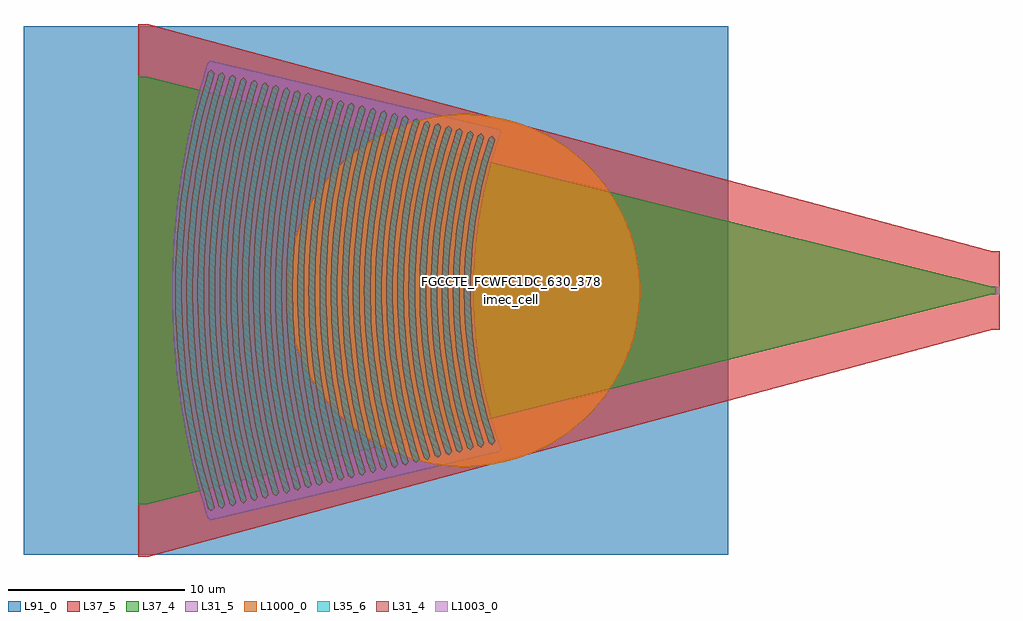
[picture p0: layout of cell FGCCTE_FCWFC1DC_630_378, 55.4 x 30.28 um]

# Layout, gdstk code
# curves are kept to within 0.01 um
import gdstk
lib = gdstk.Library(unit=1e-6, precision=1e-09)
def R(c, l, rs):  # rectangles x0, y0, x1, y1
    for r in rs: c.add(gdstk.rectangle(r[:2], r[2:], *l))
def P(c, l, *ps):  # polygons
    for p in ps: c.add(gdstk.Polygon(p, *l))
L31_4 = (31, 4)
L31_5 = (31, 5)
L35_6 = (35, 6)
L37_4 = (37, 4)
L37_5 = (37, 5)
L91_0 = (91, 0)
L1000_0 = (1000, 0)
L1003_0 = (1003, 0)

fgccte_fcwfc1dc_630_378 = lib.new_cell('FGCCTE_FCWFC1DC_630_378')
P(fgccte_fcwfc1dc_630_378, L31_4, [(1.595,-8.78),(1.41,-8.65),(1.125,-7.745),(0.99,-7.285),(0.755,-6.365),(0.455,-4.97),(0.3,-4.03),(0.125,-2.615),(0.05,-1.665),(0,-0.24),(0.025,1.19),(0.125,2.615),(0.3,4.03),(0.455,4.97),(0.755,6.365),(0.99,7.285),(1.125,7.745),(1.41,8.65),(1.595,8.78),(1.78,8.565),(1.495,7.665),(1.125,6.3),(0.83,4.92),(0.675,3.99),(0.55,3.055),(0.46,2.12),(0.385,0.705),(0.38,0.235),(0.385,-0.705),(0.43,-1.65),(0.5,-2.585),(0.61,-3.525),(0.83,-4.92),(1.125,-6.3),(1.495,-7.665),(1.78,-8.565)],
  [(0.98,-8.925),(0.795,-8.795),(0.505,-7.875),(0.13,-6.47),(-0.17,-5.05),(-0.33,-4.095),(-0.505,-2.655),(-0.605,-1.21),(-0.63,-0.24),(-0.605,1.21),(-0.505,2.655),(-0.33,4.095),(-0.17,5.05),(0.13,6.47),(0.505,7.875),(0.795,8.795),(0.98,8.925),(1.165,8.71),(1.015,8.255),(0.745,7.335),(0.395,5.94),(0.205,5),(-0.02,3.58),(-0.17,2.155),(-0.245,0.72),(-0.25,0.24),(-0.245,-0.72),(-0.2,-1.675),(-0.17,-2.155),(-0.02,-3.58),(0.205,-5),(0.395,-5.94),(0.745,-7.335),(1.015,-8.255),(1.165,-8.71)],
  [(0.37,-9.07),(0.185,-8.94),(-0.11,-8.005),(-0.49,-6.575),(-0.795,-5.135),(-0.955,-4.165),(-1.135,-2.7),(-1.235,-1.23),(-1.26,-0.245),(-1.235,1.23),(-1.175,2.21),(-1.08,3.19),(-0.88,4.65),(-0.6,6.1),(-0.245,7.53),(0.185,8.94),(0.37,9.07),(0.55,8.855),(0.125,7.455),(-0.115,6.515),(-0.42,5.085),(-0.58,4.125),(-0.705,3.16),(-0.8,2.19),(-0.875,0.73),(-0.88,0.245),(-0.875,-0.73),(-0.8,-2.19),(-0.705,-3.16),(-0.58,-4.125),(-0.42,-5.085),(-0.115,-6.515),(0.125,-7.455),(0.55,-8.855)],
  [(-0.245,-9.215),(-0.43,-9.085),(-0.725,-8.13),(-1.11,-6.685),(-1.42,-5.215),(-1.65,-3.735),(-1.76,-2.745),(-1.84,-1.745),(-1.89,-0.25),(-1.865,1.25),(-1.805,2.245),(-1.65,3.735),(-1.42,5.215),(-1.11,6.685),(-0.725,8.13),(-0.43,9.085),(-0.245,9.215),(-0.06,9),(-0.215,8.53),(-0.49,7.58),(-0.735,6.62),(-1.045,5.165),(-1.275,3.7),(-1.385,2.715),(-1.46,1.73),(-1.515,0.245),(-1.505,-0.74),(-1.46,-1.73),(-1.385,-2.715),(-1.275,-3.7),(-1.045,-5.165),(-0.735,-6.62),(-0.49,-7.58),(-0.215,-8.53),(-0.06,-9)],
  [(-0.86,-9.36),(-1.04,-9.23),(-1.34,-8.26),(-1.48,-7.775),(-1.73,-6.79),(-1.845,-6.295),(-2.04,-5.3),(-2.205,-4.3),(-2.34,-3.29),(-2.39,-2.785),(-2.47,-1.775),(-2.52,-0.255),(-2.495,1.27),(-2.435,2.28),(-2.34,3.29),(-2.13,4.8),(-1.845,6.295),(-1.48,7.775),(-1.04,9.23),(-0.86,9.36),(-0.675,9.145),(-0.975,8.185),(-1.36,6.725),(-1.67,5.25),(-1.83,4.26),(-1.96,3.26),(-2.055,2.26),(-2.115,1.255),(-2.145,0.25),(-2.135,-0.755),(-2.09,-1.76),(-2.015,-2.76),(-1.9,-3.76),(-1.67,-5.25),(-1.36,-6.725),(-0.975,-8.185),(-0.675,-9.145)],
  [(-1.47,-9.5),(-1.655,-9.375),(-1.96,-8.39),(-2.1,-7.895),(-2.35,-6.895),(-2.465,-6.395),(-2.665,-5.38),(-2.835,-4.365),(-3.02,-2.83),(-3.1,-1.805),(-3.15,-0.26),(-3.125,1.29),(-3.065,2.315),(-2.905,3.855),(-2.755,4.875),(-2.465,6.395),(-2.1,7.895),(-1.655,9.375),(-1.47,9.5),(-1.285,9.29),(-1.59,8.315),(-1.98,6.83),(-2.195,5.835),(-2.46,4.325),(-2.59,3.31),(-2.685,2.295),(-2.745,1.275),(-2.775,0.255),(-2.765,-0.765),(-2.72,-1.785),(-2.64,-2.805),(-2.53,-3.82),(-2.38,-4.83),(-2.29,-5.33),(-1.98,-6.83),(-1.59,-8.315),(-1.285,-9.29)],
  [(-2.085,-9.645),(-2.265,-9.52),(-2.575,-8.52),(-2.975,-7),(-3.195,-5.98),(-3.29,-5.465),(-3.46,-4.43),(-3.65,-2.875),(-3.73,-1.83),(-3.775,-0.785),(-3.78,-0.26),(-3.775,0.785),(-3.755,1.31),(-3.65,2.875),(-3.53,3.915),(-3.38,4.95),(-3.09,6.49),(-2.85,7.51),(-2.715,8.015),(-2.575,8.52),(-2.265,9.52),(-2.085,9.645),(-1.9,9.435),(-2.205,8.445),(-2.6,6.94),(-2.82,5.925),(-3.085,4.39),(-3.215,3.365),(-3.315,2.33),(-3.375,1.295),(-3.405,0.26),(-3.395,-0.78),(-3.35,-1.815),(-3.27,-2.845),(-3.155,-3.88),(-3.005,-4.905),(-2.915,-5.415),(-2.82,-5.925),(-2.6,-6.94),(-2.205,-8.445),(-1.9,-9.435)],
  [(-2.695,-9.79),(-2.88,-9.665),(-3.2,-8.62),(-3.485,-7.565),(-3.61,-7.035),(-3.73,-6.505),(-3.935,-5.43),(-4.11,-4.355),(-4.295,-2.725),(-4.395,-1.09),(-4.415,0),(-4.395,1.09),(-4.295,2.725),(-4.11,4.355),(-3.935,5.43),(-3.73,6.505),(-3.61,7.035),(-3.485,7.565),(-3.2,8.62),(-2.88,9.665),(-2.695,9.79),(-2.51,9.58),(-2.83,8.545),(-2.975,8.02),(-3.355,6.445),(-3.465,5.915),(-3.65,4.85),(-3.805,3.775),(-3.96,2.16),(-4.015,1.08),(-4.035,0),(-4.015,-1.08),(-3.96,-2.16),(-3.805,-3.775),(-3.65,-4.85),(-3.465,-5.915),(-3.355,-6.445),(-2.975,-8.02),(-2.83,-8.545),(-2.51,-9.58)],
  [(-3.31,-9.935),(-3.495,-9.81),(-3.815,-8.75),(-3.965,-8.215),(-4.23,-7.14),(-4.35,-6.6),(-4.56,-5.51),(-4.735,-4.415),(-4.925,-2.765),(-5.025,-1.11),(-5.045,0),(-5.025,1.11),(-4.925,2.765),(-4.735,4.415),(-4.56,5.51),(-4.35,6.6),(-4.23,7.14),(-3.965,8.215),(-3.815,8.75),(-3.495,9.81),(-3.31,9.935),(-3.125,9.725),(-3.595,8.145),(-3.86,7.075),(-4.085,6.005),(-4.28,4.92),(-4.36,4.38),(-4.495,3.29),(-4.59,2.195),(-4.645,1.1),(-4.665,0),(-4.645,-1.1),(-4.59,-2.195),(-4.495,-3.29),(-4.36,-4.38),(-4.28,-4.92),(-4.085,-6.005),(-3.86,-7.075),(-3.595,-8.145),(-3.125,-9.725)],
  [(-3.92,-10.08),(-4.105,-9.955),(-4.43,-8.88),(-4.85,-7.245),(-4.975,-6.695),(-5.185,-5.59),(-5.28,-5.04),(-5.435,-3.925),(-5.55,-2.805),(-5.655,-1.125),(-5.675,0),(-5.655,1.125),(-5.55,2.805),(-5.435,3.925),(-5.28,5.04),(-5.185,5.59),(-4.975,6.695),(-4.85,7.245),(-4.43,8.88),(-4.105,9.955),(-3.92,10.08),(-3.74,9.865),(-4.065,8.8),(-4.48,7.18),(-4.71,6.09),(-4.905,4.995),(-4.985,4.445),(-5.12,3.335),(-5.22,2.225),(-5.275,1.115),(-5.295,0),(-5.275,-1.115),(-5.22,-2.225),(-5.12,-3.335),(-4.985,-4.445),(-4.905,-4.995),(-4.71,-6.09),(-4.48,-7.18),(-4.065,-8.8),(-3.74,-9.865)],
  [(-4.535,-10.225),(-4.72,-10.1),(-5.05,-9.005),(-5.475,-7.35),(-5.71,-6.235),(-5.81,-5.675),(-5.99,-4.545),(-6.18,-2.845),(-6.26,-1.71),(-6.305,0),(-6.26,1.71),(-6.18,2.845),(-5.99,4.545),(-5.81,5.675),(-5.71,6.235),(-5.475,7.35),(-5.05,9.005),(-4.72,10.1),(-4.535,10.225),(-4.35,10.01),(-4.68,8.93),(-4.83,8.385),(-5.1,7.285),(-5.335,6.18),(-5.53,5.065),(-5.61,4.51),(-5.75,3.385),(-5.845,2.26),(-5.905,1.13),(-5.925,0),(-5.905,-1.13),(-5.845,-2.26),(-5.75,-3.385),(-5.61,-4.51),(-5.53,-5.065),(-5.335,-6.18),(-5.1,-7.285),(-4.83,-8.385),(-4.68,-8.93),(-4.35,-10.01)],
  [(-5.145,-10.37),(-5.33,-10.245),(-5.665,-9.135),(-5.82,-8.58),(-6.095,-7.455),(-6.22,-6.89),(-6.435,-5.755),(-6.53,-5.185),(-6.69,-4.04),(-6.81,-2.89),(-6.89,-1.735),(-6.93,-0.58),(-6.935,0),(-6.93,0.58),(-6.89,1.735),(-6.81,2.89),(-6.69,4.04),(-6.53,5.185),(-6.435,5.755),(-6.22,6.89),(-6.095,7.455),(-5.82,8.58),(-5.665,9.135),(-5.33,10.245),(-5.145,10.37),(-4.965,10.155),(-5.295,9.06),(-5.59,7.95),(-5.72,7.39),(-5.96,6.27),(-6.24,4.575),(-6.38,3.435),(-6.475,2.29),(-6.535,1.145),(-6.555,0),(-6.535,-1.145),(-6.475,-2.29),(-6.38,-3.435),(-6.24,-4.575),(-5.96,-6.27),(-5.72,-7.39),(-5.59,-7.95),(-5.295,-9.06),(-4.965,-10.155)],
  [(-5.76,-10.515),(-5.945,-10.39),(-6.28,-9.265),(-6.435,-8.7),(-6.715,-7.56),(-7.06,-5.835),(-7.24,-4.675),(-7.385,-3.51),(-7.44,-2.93),(-7.52,-1.76),(-7.565,0),(-7.52,1.76),(-7.44,2.93),(-7.385,3.51),(-7.24,4.675),(-7.06,5.835),(-6.715,7.56),(-6.435,8.7),(-6.28,9.265),(-5.945,10.39),(-5.76,10.515),(-5.575,10.3),(-5.75,9.745),(-6.065,8.625),(-6.345,7.495),(-6.685,5.785),(-6.865,4.635),(-7.005,3.485),(-7.105,2.325),(-7.165,1.165),(-7.185,0),(-7.165,-1.165),(-7.105,-2.325),(-7.005,-3.485),(-6.865,-4.635),(-6.685,-5.785),(-6.345,-7.495),(-6.065,-8.625),(-5.75,-9.745),(-5.575,-10.3)],
  [(-6.37,-10.66),(-6.555,-10.53),(-6.9,-9.395),(-7.2,-8.245),(-7.335,-7.665),(-7.465,-7.085),(-7.685,-5.915),(-7.87,-4.74),(-8.065,-2.97),(-8.15,-1.785),(-8.195,0),(-8.15,1.785),(-8.065,2.97),(-7.87,4.74),(-7.685,5.915),(-7.465,7.085),(-7.335,7.665),(-7.2,8.245),(-6.9,9.395),(-6.555,10.53),(-6.37,10.66),(-6.19,10.445),(-6.53,9.315),(-6.83,8.175),(-6.965,7.6),(-7.205,6.445),(-7.495,4.7),(-7.635,3.53),(-7.735,2.355),(-7.795,1.18),(-7.815,0),(-7.795,-1.18),(-7.735,-2.355),(-7.635,-3.53),(-7.495,-4.7),(-7.205,-6.445),(-6.965,-7.6),(-6.83,-8.175),(-6.53,-9.315),(-6.19,-10.445)],
  [(-6.985,-10.805),(-7.17,-10.675),(-7.515,-9.52),(-7.96,-7.77),(-8.205,-6.59),(-8.31,-5.995),(-8.41,-5.4),(-8.575,-4.21),(-8.695,-3.01),(-8.78,-1.805),(-8.805,-1.205),(-8.825,0),(-8.805,1.205),(-8.78,1.805),(-8.695,3.01),(-8.575,4.21),(-8.41,5.4),(-8.31,5.995),(-8.205,6.59),(-7.96,7.77),(-7.515,9.52),(-7.17,10.675),(-6.985,10.805),(-6.8,10.59),(-7.145,9.445),(-7.45,8.29),(-7.585,7.705),(-7.83,6.535),(-8.035,5.36),(-8.12,4.765),(-8.265,3.58),(-8.365,2.39),(-8.425,1.195),(-8.445,0),(-8.425,-1.195),(-8.365,-2.39),(-8.265,-3.58),(-8.12,-4.765),(-8.035,-5.36),(-7.83,-6.535),(-7.585,-7.705),(-7.45,-8.29),(-7.145,-9.445),(-6.8,-10.59)],
  [(-7.595,-10.945),(-7.78,-10.82),(-8.13,-9.65),(-8.44,-8.47),(-8.58,-7.875),(-8.71,-7.275),(-8.935,-6.075),(-9.035,-5.475),(-9.2,-4.265),(-9.325,-3.05),(-9.41,-1.83),(-9.455,0),(-9.41,1.83),(-9.325,3.05),(-9.2,4.265),(-9.035,5.475),(-8.935,6.075),(-8.71,7.275),(-8.58,7.875),(-8.44,8.47),(-8.13,9.65),(-7.78,10.82),(-7.595,10.945),(-7.415,10.735),(-7.92,8.99),(-8.205,7.81),(-8.455,6.625),(-8.66,5.43),(-8.745,4.83),(-8.89,3.63),(-8.995,2.42),(-9.055,1.21),(-9.075,0),(-9.055,-1.21),(-8.995,-2.42),(-8.89,-3.63),(-8.745,-4.83),(-8.66,-5.43),(-8.455,-6.625),(-8.205,-7.81),(-7.92,-8.99),(-7.415,-10.735)],
  [(-8.21,-11.09),(-8.395,-10.965),(-8.755,-9.745),(-8.92,-9.13),(-9.22,-7.89),(-9.475,-6.645),(-9.585,-6.02),(-9.775,-4.76),(-9.975,-2.86),(-10.05,-1.59),(-10.085,-0.32),(-10.075,0.955),(-9.975,2.86),(-9.775,4.76),(-9.585,6.02),(-9.475,6.645),(-9.22,7.89),(-8.92,9.13),(-8.755,9.745),(-8.395,10.965),(-8.21,11.09),(-8.025,10.88),(-8.385,9.67),(-8.705,8.445),(-8.98,7.21),(-9.1,6.595),(-9.31,5.345),(-9.475,4.095),(-9.595,2.84),(-9.675,1.58),(-9.705,0.315),(-9.695,-0.945),(-9.64,-2.21),(-9.54,-3.465),(-9.395,-4.72),(-9.31,-5.345),(-9.1,-6.595),(-8.845,-7.83),(-8.55,-9.06),(-8.385,-9.67),(-8.025,-10.88)],
  [(-8.825,-11.235),(-9.005,-11.11),(-9.195,-10.495),(-9.54,-9.25),(-9.695,-8.625),(-9.975,-7.365),(-10.21,-6.095),(-10.4,-4.82),(-10.545,-3.54),(-10.6,-2.9),(-10.68,-1.61),(-10.715,-0.32),(-10.705,0.965),(-10.6,2.9),(-10.48,4.18),(-10.31,5.46),(-10.21,6.095),(-9.975,7.365),(-9.695,8.625),(-9.54,9.25),(-9.195,10.495),(-9.005,11.11),(-8.825,11.235),(-8.64,11.025),(-9.005,9.795),(-9.17,9.18),(-9.465,7.935),(-9.725,6.68),(-9.935,5.42),(-10.025,4.785),(-10.17,3.515),(-10.27,2.24),(-10.305,1.6),(-10.335,0.32),(-10.325,-0.96),(-10.27,-2.24),(-10.17,-3.515),(-10.025,-4.785),(-9.935,-5.42),(-9.725,-6.68),(-9.465,-7.935),(-9.17,-9.18),(-9.005,-9.795),(-8.64,-11.025)],
  [(-9.435,-11.38),(-9.62,-11.255),(-9.99,-10),(-10.315,-8.735),(-10.46,-8.1),(-10.72,-6.82),(-10.835,-6.175),(-11.025,-4.885),(-11.175,-3.585),(-11.275,-2.285),(-11.31,-1.63),(-11.345,-0.325),(-11.335,0.98),(-11.275,2.285),(-11.23,2.935),(-11.105,4.235),(-11.025,4.885),(-10.835,6.175),(-10.72,6.82),(-10.46,8.1),(-10.315,8.735),(-9.99,10),(-9.62,11.255),(-9.435,11.38),(-9.25,11.165),(-9.62,9.925),(-9.945,8.67),(-10.09,8.035),(-10.225,7.405),(-10.46,6.13),(-10.65,4.845),(-10.73,4.205),(-10.855,2.915),(-10.93,1.62),(-10.965,0.325),(-10.955,-0.97),(-10.9,-2.265),(-10.795,-3.56),(-10.65,-4.845),(-10.46,-6.13),(-10.225,-7.405),(-10.09,-8.035),(-9.945,-8.67),(-9.62,-9.925),(-9.25,-11.165)],
  [(-10.05,-11.525),(-10.23,-11.4),(-10.605,-10.13),(-10.775,-9.49),(-11.085,-8.205),(-11.46,-6.255),(-11.655,-4.945),(-11.805,-3.63),(-11.86,-2.975),(-11.94,-1.655),(-11.975,-0.33),(-11.965,0.99),(-11.94,1.655),(-11.86,2.975),(-11.735,4.29),(-11.655,4.945),(-11.46,6.255),(-11.085,8.205),(-10.775,9.49),(-10.605,10.13),(-10.23,11.4),(-10.05,11.525),(-9.865,11.31),(-10.055,10.685),(-10.405,9.42),(-10.71,8.14),(-10.845,7.5),(-11.085,6.205),(-11.275,4.91),(-11.425,3.605),(-11.485,2.95),(-11.56,1.64),(-11.595,0.33),(-11.585,-0.985),(-11.53,-2.295),(-11.425,-3.605),(-11.275,-4.91),(-11.085,-6.205),(-10.97,-6.855),(-10.71,-8.14),(-10.405,-9.42),(-10.055,-10.685),(-9.865,-11.31)],
  [(-10.66,-11.67),(-10.845,-11.54),(-11.04,-10.9),(-11.395,-9.61),(-11.705,-8.305),(-11.97,-6.995),(-12.085,-6.335),(-12.28,-5.01),(-12.43,-3.68),(-12.49,-3.01),(-12.57,-1.675),(-12.605,-0.335),(-12.595,1.005),(-12.57,1.675),(-12.49,3.01),(-12.43,3.68),(-12.28,5.01),(-12.085,6.335),(-11.97,6.995),(-11.705,8.305),(-11.395,9.61),(-11.04,10.9),(-10.845,11.54),(-10.66,11.67),(-10.475,11.455),(-10.67,10.82),(-11.025,9.54),(-11.33,8.245),(-11.595,6.94),(-11.815,5.63),(-11.985,4.31),(-12.11,2.99),(-12.19,1.66),(-12.225,0.33),(-12.215,-0.995),(-12.16,-2.325),(-12.055,-3.65),(-11.905,-4.97),(-11.71,-6.285),(-11.47,-7.595),(-11.33,-8.245),(-11.025,-9.54),(-10.67,-10.82),(-10.475,-11.455)],
  [(-11.275,-11.815),(-11.455,-11.685),(-11.84,-10.385),(-12.175,-9.07),(-12.325,-8.41),(-12.595,-7.08),(-12.71,-6.41),(-12.91,-5.07),(-12.99,-4.4),(-13.12,-3.05),(-13.2,-1.695),(-13.235,-0.34),(-13.225,1.015),(-13.2,1.695),(-13.12,3.05),(-12.99,4.4),(-12.91,5.07),(-12.71,6.41),(-12.595,7.08),(-12.325,8.41),(-12.175,9.07),(-11.84,10.385),(-11.455,11.685),(-11.275,11.815),(-11.09,11.6),(-11.47,10.31),(-11.8,9.005),(-11.95,8.35),(-12.22,7.03),(-12.44,5.7),(-12.615,4.365),(-12.74,3.025),(-12.82,1.68),(-12.855,0.335),(-12.845,-1.01),(-12.785,-2.355),(-12.685,-3.695),(-12.53,-5.035),(-12.44,-5.7),(-12.22,-7.03),(-11.95,-8.35),(-11.8,-9.005),(-11.47,-10.31),(-11.09,-11.6)],
  [(-11.885,-11.955),(-12.07,-11.83),(-12.455,-10.515),(-12.795,-9.185),(-12.945,-8.515),(-13.335,-6.49),(-13.535,-5.135),(-13.69,-3.77),(-13.795,-2.4),(-13.855,-1.03),(-13.865,-0.345),(-13.855,1.03),(-13.795,2.4),(-13.745,3.085),(-13.69,3.77),(-13.535,5.135),(-13.335,6.49),(-12.945,8.515),(-12.795,9.185),(-12.455,10.515),(-12.07,11.83),(-11.885,11.955),(-11.7,11.745),(-12.085,10.435),(-12.26,9.775),(-12.575,8.45),(-12.715,7.785),(-12.96,6.445),(-13.16,5.095),(-13.24,4.42),(-13.37,3.065),(-13.45,1.705),(-13.485,0.34),(-13.475,-1.02),(-13.415,-2.385),(-13.31,-3.74),(-13.16,-5.095),(-12.96,-6.445),(-12.715,-7.785),(-12.575,-8.45),(-12.26,-9.775),(-12.085,-10.435),(-11.7,-11.745)],
  [(-12.495,-12.1),(-12.68,-11.975),(-12.88,-11.31),(-13.25,-9.97),(-13.415,-9.295),(-13.71,-7.935),(-13.96,-6.57),(-14.065,-5.885),(-14.245,-4.505),(-14.375,-3.125),(-14.46,-1.735),(-14.495,-0.345),(-14.485,1.04),(-14.425,2.43),(-14.375,3.125),(-14.245,4.505),(-14.065,5.885),(-13.96,6.57),(-13.71,7.935),(-13.415,9.295),(-13.25,9.97),(-12.88,11.31),(-12.68,11.975),(-12.495,12.1),(-12.315,11.89),(-12.7,10.565),(-13.195,8.555),(-13.335,7.88),(-13.585,6.525),(-13.785,5.16),(-13.87,4.475),(-14,3.1),(-14.08,1.725),(-14.12,0.345),(-14.105,-1.035),(-14.045,-2.41),(-13.94,-3.785),(-13.785,-5.16),(-13.585,-6.525),(-13.335,-7.88),(-13.195,-8.555),(-12.7,-10.565),(-12.315,-11.89)],
  [(-13.11,-12.245),(-13.295,-12.12),(-13.685,-10.77),(-13.865,-10.09),(-14.19,-8.72),(-14.465,-7.34),(-14.585,-6.65),(-14.79,-5.26),(-14.945,-3.86),(-15.055,-2.46),(-15.115,-1.055),(-15.125,-0.35),(-15.115,1.055),(-15.055,2.46),(-15.005,3.16),(-14.875,4.56),(-14.79,5.26),(-14.585,6.65),(-14.465,7.34),(-14.19,8.72),(-13.865,10.09),(-13.685,10.77),(-13.295,12.12),(-13.11,12.245),(-12.925,12.035),(-13.125,11.365),(-13.495,10.015),(-13.815,8.66),(-14.09,7.29),(-14.315,5.91),(-14.495,4.525),(-14.63,3.14),(-14.71,1.745),(-14.75,0.35),(-14.735,-1.045),(-14.675,-2.44),(-14.57,-3.835),(-14.41,-5.22),(-14.21,-6.6),(-13.96,-7.975),(-13.815,-8.66),(-13.495,-10.015),(-13.125,-11.365),(-12.925,-12.035)],
  [(-13.72,-12.39),(-13.905,-12.265),(-14.305,-10.895),(-14.485,-10.21),(-14.81,-8.825),(-15.09,-7.43),(-15.21,-6.73),(-15.415,-5.32),(-15.575,-3.905),(-15.685,-2.49),(-15.745,-1.065),(-15.755,-0.355),(-15.745,1.065),(-15.685,2.49),(-15.635,3.2),(-15.5,4.615),(-15.32,6.025),(-15.21,6.73),(-15.09,7.43),(-14.81,8.825),(-14.485,10.21),(-14.305,10.895),(-13.905,12.265),(-13.72,12.39),(-13.54,12.175),(-13.935,10.82),(-14.28,9.45),(-14.58,8.07),(-14.715,7.375),(-14.945,5.98),(-15.125,4.58),(-15.255,3.175),(-15.34,1.765),(-15.38,0.355),(-15.365,-1.06),(-15.305,-2.47),(-15.195,-3.88),(-15.04,-5.285),(-14.945,-5.98),(-14.715,-7.375),(-14.435,-8.76),(-14.115,-10.135),(-13.935,-10.82),(-13.54,-12.175)],
  [(-14.335,-12.535),(-14.52,-12.405),(-14.92,-11.025),(-15.1,-10.33),(-15.43,-8.925),(-15.575,-8.225),(-15.835,-6.805),(-16.045,-5.38),(-16.13,-4.67),(-16.265,-3.235),(-16.35,-1.8),(-16.385,-0.36),(-16.375,1.08),(-16.315,2.515),(-16.265,3.235),(-16.13,4.67),(-16.045,5.38),(-15.835,6.805),(-15.575,8.225),(-15.43,8.925),(-15.27,9.63),(-14.92,11.025),(-14.52,12.405),(-14.335,12.535),(-14.15,12.32),(-14.55,10.95),(-15.06,8.865),(-15.34,7.465),(-15.57,6.055),(-15.75,4.635),(-15.885,3.215),(-15.97,1.785),(-16.01,0.355),(-15.995,-1.07),(-15.935,-2.5),(-15.825,-3.925),(-15.665,-5.345),(-15.57,-6.055),(-15.34,-7.465),(-15.06,-8.865),(-14.55,-10.95),(-14.15,-12.32)])
P(fgccte_fcwfc1dc_630_378, L31_5, [(-14.375,-13.03),(-14.53,-12.94),(-14.78,-12.125),(-15.13,-10.895),(-15.355,-10.015),(-15.64,-8.77),(-15.915,-7.34),(-16.17,-5.72),(-16.395,-3.73),(-16.505,-2.095),(-16.555,-0.64),(-16.555,0.64),(-16.53,1.545),(-16.465,2.82),(-16.395,3.73),(-16.26,5),(-16.065,6.44),(-15.785,8.055),(-15.64,8.77),(-15.355,10.015),(-14.985,11.425),(-14.53,12.94),(-14.375,13.03),(2.02,9.155),(2.105,8.995),(1.765,7.97),(1.425,6.795),(1.105,5.43),(0.9,4.335),(0.765,3.405),(0.68,2.655),(0.575,1.26),(0.55,0.325),(0.555,-0.61),(0.605,-1.725),(0.71,-2.945),(0.855,-4.05),(1.105,-5.43),(1.38,-6.62),(1.68,-7.695),(2.105,-8.995),(2.02,-9.155)])
P(fgccte_fcwfc1dc_630_378, L35_6, [(1.595,-8.78),(1.41,-8.65),(1.125,-7.745),(0.99,-7.285),(0.755,-6.365),(0.455,-4.97),(0.3,-4.03),(0.125,-2.615),(0.05,-1.665),(0,-0.24),(0.025,1.19),(0.125,2.615),(0.3,4.03),(0.455,4.97),(0.755,6.365),(0.99,7.285),(1.125,7.745),(1.41,8.65),(1.595,8.78),(1.78,8.565),(1.495,7.665),(1.125,6.3),(0.83,4.92),(0.675,3.99),(0.55,3.055),(0.46,2.12),(0.385,0.705),(0.38,0.235),(0.385,-0.705),(0.43,-1.65),(0.5,-2.585),(0.61,-3.525),(0.83,-4.92),(1.125,-6.3),(1.495,-7.665),(1.78,-8.565)],
  [(0.98,-8.925),(0.795,-8.795),(0.505,-7.875),(0.13,-6.47),(-0.17,-5.05),(-0.33,-4.095),(-0.505,-2.655),(-0.605,-1.21),(-0.63,-0.24),(-0.605,1.21),(-0.505,2.655),(-0.33,4.095),(-0.17,5.05),(0.13,6.47),(0.505,7.875),(0.795,8.795),(0.98,8.925),(1.165,8.71),(1.015,8.255),(0.745,7.335),(0.395,5.94),(0.205,5),(-0.02,3.58),(-0.17,2.155),(-0.245,0.72),(-0.25,0.24),(-0.245,-0.72),(-0.2,-1.675),(-0.17,-2.155),(-0.02,-3.58),(0.205,-5),(0.395,-5.94),(0.745,-7.335),(1.015,-8.255),(1.165,-8.71)],
  [(0.37,-9.07),(0.185,-8.94),(-0.11,-8.005),(-0.49,-6.575),(-0.795,-5.135),(-0.955,-4.165),(-1.135,-2.7),(-1.235,-1.23),(-1.26,-0.245),(-1.235,1.23),(-1.175,2.21),(-1.08,3.19),(-0.88,4.65),(-0.6,6.1),(-0.245,7.53),(0.185,8.94),(0.37,9.07),(0.55,8.855),(0.125,7.455),(-0.115,6.515),(-0.42,5.085),(-0.58,4.125),(-0.705,3.16),(-0.8,2.19),(-0.875,0.73),(-0.88,0.245),(-0.875,-0.73),(-0.8,-2.19),(-0.705,-3.16),(-0.58,-4.125),(-0.42,-5.085),(-0.115,-6.515),(0.125,-7.455),(0.55,-8.855)],
  [(-0.245,-9.215),(-0.43,-9.085),(-0.725,-8.13),(-1.11,-6.685),(-1.42,-5.215),(-1.65,-3.735),(-1.76,-2.745),(-1.84,-1.745),(-1.89,-0.25),(-1.865,1.25),(-1.805,2.245),(-1.65,3.735),(-1.42,5.215),(-1.11,6.685),(-0.725,8.13),(-0.43,9.085),(-0.245,9.215),(-0.06,9),(-0.215,8.53),(-0.49,7.58),(-0.735,6.62),(-1.045,5.165),(-1.275,3.7),(-1.385,2.715),(-1.46,1.73),(-1.515,0.245),(-1.505,-0.74),(-1.46,-1.73),(-1.385,-2.715),(-1.275,-3.7),(-1.045,-5.165),(-0.735,-6.62),(-0.49,-7.58),(-0.215,-8.53),(-0.06,-9)],
  [(-0.86,-9.36),(-1.04,-9.23),(-1.34,-8.26),(-1.48,-7.775),(-1.73,-6.79),(-1.845,-6.295),(-2.04,-5.3),(-2.205,-4.3),(-2.34,-3.29),(-2.39,-2.785),(-2.47,-1.775),(-2.52,-0.255),(-2.495,1.27),(-2.435,2.28),(-2.34,3.29),(-2.13,4.8),(-1.845,6.295),(-1.48,7.775),(-1.04,9.23),(-0.86,9.36),(-0.675,9.145),(-0.975,8.185),(-1.36,6.725),(-1.67,5.25),(-1.83,4.26),(-1.96,3.26),(-2.055,2.26),(-2.115,1.255),(-2.145,0.25),(-2.135,-0.755),(-2.09,-1.76),(-2.015,-2.76),(-1.9,-3.76),(-1.67,-5.25),(-1.36,-6.725),(-0.975,-8.185),(-0.675,-9.145)],
  [(-1.47,-9.5),(-1.655,-9.375),(-1.96,-8.39),(-2.1,-7.895),(-2.35,-6.895),(-2.465,-6.395),(-2.665,-5.38),(-2.835,-4.365),(-3.02,-2.83),(-3.1,-1.805),(-3.15,-0.26),(-3.125,1.29),(-3.065,2.315),(-2.905,3.855),(-2.755,4.875),(-2.465,6.395),(-2.1,7.895),(-1.655,9.375),(-1.47,9.5),(-1.285,9.29),(-1.59,8.315),(-1.98,6.83),(-2.195,5.835),(-2.46,4.325),(-2.59,3.31),(-2.685,2.295),(-2.745,1.275),(-2.775,0.255),(-2.765,-0.765),(-2.72,-1.785),(-2.64,-2.805),(-2.53,-3.82),(-2.38,-4.83),(-2.29,-5.33),(-1.98,-6.83),(-1.59,-8.315),(-1.285,-9.29)],
  [(-2.085,-9.645),(-2.265,-9.52),(-2.575,-8.52),(-2.975,-7),(-3.195,-5.98),(-3.29,-5.465),(-3.46,-4.43),(-3.65,-2.875),(-3.73,-1.83),(-3.775,-0.785),(-3.78,-0.26),(-3.775,0.785),(-3.755,1.31),(-3.65,2.875),(-3.53,3.915),(-3.38,4.95),(-3.09,6.49),(-2.85,7.51),(-2.715,8.015),(-2.575,8.52),(-2.265,9.52),(-2.085,9.645),(-1.9,9.435),(-2.205,8.445),(-2.6,6.94),(-2.82,5.925),(-3.085,4.39),(-3.215,3.365),(-3.315,2.33),(-3.375,1.295),(-3.405,0.26),(-3.395,-0.78),(-3.35,-1.815),(-3.27,-2.845),(-3.155,-3.88),(-3.005,-4.905),(-2.915,-5.415),(-2.82,-5.925),(-2.6,-6.94),(-2.205,-8.445),(-1.9,-9.435)],
  [(-2.695,-9.79),(-2.88,-9.665),(-3.2,-8.62),(-3.485,-7.565),(-3.61,-7.035),(-3.73,-6.505),(-3.935,-5.43),(-4.11,-4.355),(-4.295,-2.725),(-4.395,-1.09),(-4.415,0),(-4.395,1.09),(-4.295,2.725),(-4.11,4.355),(-3.935,5.43),(-3.73,6.505),(-3.61,7.035),(-3.485,7.565),(-3.2,8.62),(-2.88,9.665),(-2.695,9.79),(-2.51,9.58),(-2.83,8.545),(-2.975,8.02),(-3.355,6.445),(-3.465,5.915),(-3.65,4.85),(-3.805,3.775),(-3.96,2.16),(-4.015,1.08),(-4.035,0),(-4.015,-1.08),(-3.96,-2.16),(-3.805,-3.775),(-3.65,-4.85),(-3.465,-5.915),(-3.355,-6.445),(-2.975,-8.02),(-2.83,-8.545),(-2.51,-9.58)],
  [(-3.31,-9.935),(-3.495,-9.81),(-3.815,-8.75),(-3.965,-8.215),(-4.23,-7.14),(-4.35,-6.6),(-4.56,-5.51),(-4.735,-4.415),(-4.925,-2.765),(-5.025,-1.11),(-5.045,0),(-5.025,1.11),(-4.925,2.765),(-4.735,4.415),(-4.56,5.51),(-4.35,6.6),(-4.23,7.14),(-3.965,8.215),(-3.815,8.75),(-3.495,9.81),(-3.31,9.935),(-3.125,9.725),(-3.595,8.145),(-3.86,7.075),(-4.085,6.005),(-4.28,4.92),(-4.36,4.38),(-4.495,3.29),(-4.59,2.195),(-4.645,1.1),(-4.665,0),(-4.645,-1.1),(-4.59,-2.195),(-4.495,-3.29),(-4.36,-4.38),(-4.28,-4.92),(-4.085,-6.005),(-3.86,-7.075),(-3.595,-8.145),(-3.125,-9.725)],
  [(-3.92,-10.08),(-4.105,-9.955),(-4.43,-8.88),(-4.85,-7.245),(-4.975,-6.695),(-5.185,-5.59),(-5.28,-5.04),(-5.435,-3.925),(-5.55,-2.805),(-5.655,-1.125),(-5.675,0),(-5.655,1.125),(-5.55,2.805),(-5.435,3.925),(-5.28,5.04),(-5.185,5.59),(-4.975,6.695),(-4.85,7.245),(-4.43,8.88),(-4.105,9.955),(-3.92,10.08),(-3.74,9.865),(-4.065,8.8),(-4.48,7.18),(-4.71,6.09),(-4.905,4.995),(-4.985,4.445),(-5.12,3.335),(-5.22,2.225),(-5.275,1.115),(-5.295,0),(-5.275,-1.115),(-5.22,-2.225),(-5.12,-3.335),(-4.985,-4.445),(-4.905,-4.995),(-4.71,-6.09),(-4.48,-7.18),(-4.065,-8.8),(-3.74,-9.865)],
  [(-4.535,-10.225),(-4.72,-10.1),(-5.05,-9.005),(-5.475,-7.35),(-5.71,-6.235),(-5.81,-5.675),(-5.99,-4.545),(-6.18,-2.845),(-6.26,-1.71),(-6.305,0),(-6.26,1.71),(-6.18,2.845),(-5.99,4.545),(-5.81,5.675),(-5.71,6.235),(-5.475,7.35),(-5.05,9.005),(-4.72,10.1),(-4.535,10.225),(-4.35,10.01),(-4.68,8.93),(-4.83,8.385),(-5.1,7.285),(-5.335,6.18),(-5.53,5.065),(-5.61,4.51),(-5.75,3.385),(-5.845,2.26),(-5.905,1.13),(-5.925,0),(-5.905,-1.13),(-5.845,-2.26),(-5.75,-3.385),(-5.61,-4.51),(-5.53,-5.065),(-5.335,-6.18),(-5.1,-7.285),(-4.83,-8.385),(-4.68,-8.93),(-4.35,-10.01)],
  [(-5.145,-10.37),(-5.33,-10.245),(-5.665,-9.135),(-5.82,-8.58),(-6.095,-7.455),(-6.22,-6.89),(-6.435,-5.755),(-6.53,-5.185),(-6.69,-4.04),(-6.81,-2.89),(-6.89,-1.735),(-6.93,-0.58),(-6.935,0),(-6.93,0.58),(-6.89,1.735),(-6.81,2.89),(-6.69,4.04),(-6.53,5.185),(-6.435,5.755),(-6.22,6.89),(-6.095,7.455),(-5.82,8.58),(-5.665,9.135),(-5.33,10.245),(-5.145,10.37),(-4.965,10.155),(-5.295,9.06),(-5.59,7.95),(-5.72,7.39),(-5.96,6.27),(-6.24,4.575),(-6.38,3.435),(-6.475,2.29),(-6.535,1.145),(-6.555,0),(-6.535,-1.145),(-6.475,-2.29),(-6.38,-3.435),(-6.24,-4.575),(-5.96,-6.27),(-5.72,-7.39),(-5.59,-7.95),(-5.295,-9.06),(-4.965,-10.155)],
  [(-5.76,-10.515),(-5.945,-10.39),(-6.28,-9.265),(-6.435,-8.7),(-6.715,-7.56),(-7.06,-5.835),(-7.24,-4.675),(-7.385,-3.51),(-7.44,-2.93),(-7.52,-1.76),(-7.565,0),(-7.52,1.76),(-7.44,2.93),(-7.385,3.51),(-7.24,4.675),(-7.06,5.835),(-6.715,7.56),(-6.435,8.7),(-6.28,9.265),(-5.945,10.39),(-5.76,10.515),(-5.575,10.3),(-5.75,9.745),(-6.065,8.625),(-6.345,7.495),(-6.685,5.785),(-6.865,4.635),(-7.005,3.485),(-7.105,2.325),(-7.165,1.165),(-7.185,0),(-7.165,-1.165),(-7.105,-2.325),(-7.005,-3.485),(-6.865,-4.635),(-6.685,-5.785),(-6.345,-7.495),(-6.065,-8.625),(-5.75,-9.745),(-5.575,-10.3)],
  [(-6.37,-10.66),(-6.555,-10.53),(-6.9,-9.395),(-7.2,-8.245),(-7.335,-7.665),(-7.465,-7.085),(-7.685,-5.915),(-7.87,-4.74),(-8.065,-2.97),(-8.15,-1.785),(-8.195,0),(-8.15,1.785),(-8.065,2.97),(-7.87,4.74),(-7.685,5.915),(-7.465,7.085),(-7.335,7.665),(-7.2,8.245),(-6.9,9.395),(-6.555,10.53),(-6.37,10.66),(-6.19,10.445),(-6.53,9.315),(-6.83,8.175),(-6.965,7.6),(-7.205,6.445),(-7.495,4.7),(-7.635,3.53),(-7.735,2.355),(-7.795,1.18),(-7.815,0),(-7.795,-1.18),(-7.735,-2.355),(-7.635,-3.53),(-7.495,-4.7),(-7.205,-6.445),(-6.965,-7.6),(-6.83,-8.175),(-6.53,-9.315),(-6.19,-10.445)],
  [(-6.985,-10.805),(-7.17,-10.675),(-7.515,-9.52),(-7.96,-7.77),(-8.205,-6.59),(-8.31,-5.995),(-8.41,-5.4),(-8.575,-4.21),(-8.695,-3.01),(-8.78,-1.805),(-8.805,-1.205),(-8.825,0),(-8.805,1.205),(-8.78,1.805),(-8.695,3.01),(-8.575,4.21),(-8.41,5.4),(-8.31,5.995),(-8.205,6.59),(-7.96,7.77),(-7.515,9.52),(-7.17,10.675),(-6.985,10.805),(-6.8,10.59),(-7.145,9.445),(-7.45,8.29),(-7.585,7.705),(-7.83,6.535),(-8.035,5.36),(-8.12,4.765),(-8.265,3.58),(-8.365,2.39),(-8.425,1.195),(-8.445,0),(-8.425,-1.195),(-8.365,-2.39),(-8.265,-3.58),(-8.12,-4.765),(-8.035,-5.36),(-7.83,-6.535),(-7.585,-7.705),(-7.45,-8.29),(-7.145,-9.445),(-6.8,-10.59)],
  [(-7.595,-10.945),(-7.78,-10.82),(-8.13,-9.65),(-8.44,-8.47),(-8.58,-7.875),(-8.71,-7.275),(-8.935,-6.075),(-9.035,-5.475),(-9.2,-4.265),(-9.325,-3.05),(-9.41,-1.83),(-9.455,0),(-9.41,1.83),(-9.325,3.05),(-9.2,4.265),(-9.035,5.475),(-8.935,6.075),(-8.71,7.275),(-8.58,7.875),(-8.44,8.47),(-8.13,9.65),(-7.78,10.82),(-7.595,10.945),(-7.415,10.735),(-7.92,8.99),(-8.205,7.81),(-8.455,6.625),(-8.66,5.43),(-8.745,4.83),(-8.89,3.63),(-8.995,2.42),(-9.055,1.21),(-9.075,0),(-9.055,-1.21),(-8.995,-2.42),(-8.89,-3.63),(-8.745,-4.83),(-8.66,-5.43),(-8.455,-6.625),(-8.205,-7.81),(-7.92,-8.99),(-7.415,-10.735)],
  [(-8.21,-11.09),(-8.395,-10.965),(-8.755,-9.745),(-8.92,-9.13),(-9.22,-7.89),(-9.475,-6.645),(-9.585,-6.02),(-9.775,-4.76),(-9.975,-2.86),(-10.05,-1.59),(-10.085,-0.32),(-10.075,0.955),(-9.975,2.86),(-9.775,4.76),(-9.585,6.02),(-9.475,6.645),(-9.22,7.89),(-8.92,9.13),(-8.755,9.745),(-8.395,10.965),(-8.21,11.09),(-8.025,10.88),(-8.385,9.67),(-8.705,8.445),(-8.98,7.21),(-9.1,6.595),(-9.31,5.345),(-9.475,4.095),(-9.595,2.84),(-9.675,1.58),(-9.705,0.315),(-9.695,-0.945),(-9.64,-2.21),(-9.54,-3.465),(-9.395,-4.72),(-9.31,-5.345),(-9.1,-6.595),(-8.845,-7.83),(-8.55,-9.06),(-8.385,-9.67),(-8.025,-10.88)],
  [(-8.825,-11.235),(-9.005,-11.11),(-9.195,-10.495),(-9.54,-9.25),(-9.695,-8.625),(-9.975,-7.365),(-10.21,-6.095),(-10.4,-4.82),(-10.545,-3.54),(-10.6,-2.9),(-10.68,-1.61),(-10.715,-0.32),(-10.705,0.965),(-10.6,2.9),(-10.48,4.18),(-10.31,5.46),(-10.21,6.095),(-9.975,7.365),(-9.695,8.625),(-9.54,9.25),(-9.195,10.495),(-9.005,11.11),(-8.825,11.235),(-8.64,11.025),(-9.005,9.795),(-9.17,9.18),(-9.465,7.935),(-9.725,6.68),(-9.935,5.42),(-10.025,4.785),(-10.17,3.515),(-10.27,2.24),(-10.305,1.6),(-10.335,0.32),(-10.325,-0.96),(-10.27,-2.24),(-10.17,-3.515),(-10.025,-4.785),(-9.935,-5.42),(-9.725,-6.68),(-9.465,-7.935),(-9.17,-9.18),(-9.005,-9.795),(-8.64,-11.025)],
  [(-9.435,-11.38),(-9.62,-11.255),(-9.99,-10),(-10.315,-8.735),(-10.46,-8.1),(-10.72,-6.82),(-10.835,-6.175),(-11.025,-4.885),(-11.175,-3.585),(-11.275,-2.285),(-11.31,-1.63),(-11.345,-0.325),(-11.335,0.98),(-11.275,2.285),(-11.23,2.935),(-11.105,4.235),(-11.025,4.885),(-10.835,6.175),(-10.72,6.82),(-10.46,8.1),(-10.315,8.735),(-9.99,10),(-9.62,11.255),(-9.435,11.38),(-9.25,11.165),(-9.62,9.925),(-9.945,8.67),(-10.09,8.035),(-10.225,7.405),(-10.46,6.13),(-10.65,4.845),(-10.73,4.205),(-10.855,2.915),(-10.93,1.62),(-10.965,0.325),(-10.955,-0.97),(-10.9,-2.265),(-10.795,-3.56),(-10.65,-4.845),(-10.46,-6.13),(-10.225,-7.405),(-10.09,-8.035),(-9.945,-8.67),(-9.62,-9.925),(-9.25,-11.165)],
  [(-10.05,-11.525),(-10.23,-11.4),(-10.605,-10.13),(-10.775,-9.49),(-11.085,-8.205),(-11.46,-6.255),(-11.655,-4.945),(-11.805,-3.63),(-11.86,-2.975),(-11.94,-1.655),(-11.975,-0.33),(-11.965,0.99),(-11.94,1.655),(-11.86,2.975),(-11.735,4.29),(-11.655,4.945),(-11.46,6.255),(-11.085,8.205),(-10.775,9.49),(-10.605,10.13),(-10.23,11.4),(-10.05,11.525),(-9.865,11.31),(-10.055,10.685),(-10.405,9.42),(-10.71,8.14),(-10.845,7.5),(-11.085,6.205),(-11.275,4.91),(-11.425,3.605),(-11.485,2.95),(-11.56,1.64),(-11.595,0.33),(-11.585,-0.985),(-11.53,-2.295),(-11.425,-3.605),(-11.275,-4.91),(-11.085,-6.205),(-10.97,-6.855),(-10.71,-8.14),(-10.405,-9.42),(-10.055,-10.685),(-9.865,-11.31)],
  [(-10.66,-11.67),(-10.845,-11.54),(-11.04,-10.9),(-11.395,-9.61),(-11.705,-8.305),(-11.97,-6.995),(-12.085,-6.335),(-12.28,-5.01),(-12.43,-3.68),(-12.49,-3.01),(-12.57,-1.675),(-12.605,-0.335),(-12.595,1.005),(-12.57,1.675),(-12.49,3.01),(-12.43,3.68),(-12.28,5.01),(-12.085,6.335),(-11.97,6.995),(-11.705,8.305),(-11.395,9.61),(-11.04,10.9),(-10.845,11.54),(-10.66,11.67),(-10.475,11.455),(-10.67,10.82),(-11.025,9.54),(-11.33,8.245),(-11.595,6.94),(-11.815,5.63),(-11.985,4.31),(-12.11,2.99),(-12.19,1.66),(-12.225,0.33),(-12.215,-0.995),(-12.16,-2.325),(-12.055,-3.65),(-11.905,-4.97),(-11.71,-6.285),(-11.47,-7.595),(-11.33,-8.245),(-11.025,-9.54),(-10.67,-10.82),(-10.475,-11.455)],
  [(-11.275,-11.815),(-11.455,-11.685),(-11.84,-10.385),(-12.175,-9.07),(-12.325,-8.41),(-12.595,-7.08),(-12.71,-6.41),(-12.91,-5.07),(-12.99,-4.4),(-13.12,-3.05),(-13.2,-1.695),(-13.235,-0.34),(-13.225,1.015),(-13.2,1.695),(-13.12,3.05),(-12.99,4.4),(-12.91,5.07),(-12.71,6.41),(-12.595,7.08),(-12.325,8.41),(-12.175,9.07),(-11.84,10.385),(-11.455,11.685),(-11.275,11.815),(-11.09,11.6),(-11.47,10.31),(-11.8,9.005),(-11.95,8.35),(-12.22,7.03),(-12.44,5.7),(-12.615,4.365),(-12.74,3.025),(-12.82,1.68),(-12.855,0.335),(-12.845,-1.01),(-12.785,-2.355),(-12.685,-3.695),(-12.53,-5.035),(-12.44,-5.7),(-12.22,-7.03),(-11.95,-8.35),(-11.8,-9.005),(-11.47,-10.31),(-11.09,-11.6)],
  [(-11.885,-11.955),(-12.07,-11.83),(-12.455,-10.515),(-12.795,-9.185),(-12.945,-8.515),(-13.335,-6.49),(-13.535,-5.135),(-13.69,-3.77),(-13.795,-2.4),(-13.855,-1.03),(-13.865,-0.345),(-13.855,1.03),(-13.795,2.4),(-13.745,3.085),(-13.69,3.77),(-13.535,5.135),(-13.335,6.49),(-12.945,8.515),(-12.795,9.185),(-12.455,10.515),(-12.07,11.83),(-11.885,11.955),(-11.7,11.745),(-12.085,10.435),(-12.26,9.775),(-12.575,8.45),(-12.715,7.785),(-12.96,6.445),(-13.16,5.095),(-13.24,4.42),(-13.37,3.065),(-13.45,1.705),(-13.485,0.34),(-13.475,-1.02),(-13.415,-2.385),(-13.31,-3.74),(-13.16,-5.095),(-12.96,-6.445),(-12.715,-7.785),(-12.575,-8.45),(-12.26,-9.775),(-12.085,-10.435),(-11.7,-11.745)],
  [(-12.495,-12.1),(-12.68,-11.975),(-12.88,-11.31),(-13.25,-9.97),(-13.415,-9.295),(-13.71,-7.935),(-13.96,-6.57),(-14.065,-5.885),(-14.245,-4.505),(-14.375,-3.125),(-14.46,-1.735),(-14.495,-0.345),(-14.485,1.04),(-14.425,2.43),(-14.375,3.125),(-14.245,4.505),(-14.065,5.885),(-13.96,6.57),(-13.71,7.935),(-13.415,9.295),(-13.25,9.97),(-12.88,11.31),(-12.68,11.975),(-12.495,12.1),(-12.315,11.89),(-12.7,10.565),(-13.195,8.555),(-13.335,7.88),(-13.585,6.525),(-13.785,5.16),(-13.87,4.475),(-14,3.1),(-14.08,1.725),(-14.12,0.345),(-14.105,-1.035),(-14.045,-2.41),(-13.94,-3.785),(-13.785,-5.16),(-13.585,-6.525),(-13.335,-7.88),(-13.195,-8.555),(-12.7,-10.565),(-12.315,-11.89)],
  [(-13.11,-12.245),(-13.295,-12.12),(-13.685,-10.77),(-13.865,-10.09),(-14.19,-8.72),(-14.465,-7.34),(-14.585,-6.65),(-14.79,-5.26),(-14.945,-3.86),(-15.055,-2.46),(-15.115,-1.055),(-15.125,-0.35),(-15.115,1.055),(-15.055,2.46),(-15.005,3.16),(-14.875,4.56),(-14.79,5.26),(-14.585,6.65),(-14.465,7.34),(-14.19,8.72),(-13.865,10.09),(-13.685,10.77),(-13.295,12.12),(-13.11,12.245),(-12.925,12.035),(-13.125,11.365),(-13.495,10.015),(-13.815,8.66),(-14.09,7.29),(-14.315,5.91),(-14.495,4.525),(-14.63,3.14),(-14.71,1.745),(-14.75,0.35),(-14.735,-1.045),(-14.675,-2.44),(-14.57,-3.835),(-14.41,-5.22),(-14.21,-6.6),(-13.96,-7.975),(-13.815,-8.66),(-13.495,-10.015),(-13.125,-11.365),(-12.925,-12.035)],
  [(-13.72,-12.39),(-13.905,-12.265),(-14.305,-10.895),(-14.485,-10.21),(-14.81,-8.825),(-15.09,-7.43),(-15.21,-6.73),(-15.415,-5.32),(-15.575,-3.905),(-15.685,-2.49),(-15.745,-1.065),(-15.755,-0.355),(-15.745,1.065),(-15.685,2.49),(-15.635,3.2),(-15.5,4.615),(-15.32,6.025),(-15.21,6.73),(-15.09,7.43),(-14.81,8.825),(-14.485,10.21),(-14.305,10.895),(-13.905,12.265),(-13.72,12.39),(-13.54,12.175),(-13.935,10.82),(-14.28,9.45),(-14.58,8.07),(-14.715,7.375),(-14.945,5.98),(-15.125,4.58),(-15.255,3.175),(-15.34,1.765),(-15.38,0.355),(-15.365,-1.06),(-15.305,-2.47),(-15.195,-3.88),(-15.04,-5.285),(-14.945,-5.98),(-14.715,-7.375),(-14.435,-8.76),(-14.115,-10.135),(-13.935,-10.82),(-13.54,-12.175)],
  [(-14.335,-12.535),(-14.52,-12.405),(-14.92,-11.025),(-15.1,-10.33),(-15.43,-8.925),(-15.575,-8.225),(-15.835,-6.805),(-16.045,-5.38),(-16.13,-4.67),(-16.265,-3.235),(-16.35,-1.8),(-16.385,-0.36),(-16.375,1.08),(-16.315,2.515),(-16.265,3.235),(-16.13,4.67),(-16.045,5.38),(-15.835,6.805),(-15.575,8.225),(-15.43,8.925),(-15.27,9.63),(-14.92,11.025),(-14.52,12.405),(-14.335,12.535),(-14.15,12.32),(-14.55,10.95),(-15.06,8.865),(-15.34,7.465),(-15.57,6.055),(-15.75,4.635),(-15.885,3.215),(-15.97,1.785),(-16.01,0.355),(-15.995,-1.07),(-15.935,-2.5),(-15.825,-3.925),(-15.665,-5.345),(-15.57,-6.055),(-15.34,-7.465),(-15.06,-8.865),(-14.55,-10.95),(-14.15,-12.32)])
R(fgccte_fcwfc1dc_630_378, L37_4, [(30,-0.225,30.2,0.225), (30.2,-0.225,30.4,0.225)])
P(fgccte_fcwfc1dc_630_378, L37_4, [(-18,-12.14),(-18,12.14),(30,0.225),(30,-0.225)],
  [(-18.5,-12.165),(-18.5,12.165),(-18,12.14),(-18,-12.14)])
R(fgccte_fcwfc1dc_630_378, L37_5, [(30,-2.225,30.2,2.225), (30.2,-2.225,30.4,2.225)])
P(fgccte_fcwfc1dc_630_378, L37_5, [(-18,-15.14),(-18,15.14),(30,2.225),(30,-2.225)],
  [(-18,-15.14),(-18.5,-15.115),(-18.5,15.115),(-18,15.14)])
R(fgccte_fcwfc1dc_630_378, L91_0, [(-25,-15,15,15)])
P(fgccte_fcwfc1dc_630_378, L1000_0, [(-0.175,-10),(-0.7,-9.975),(-1.39,-9.905),(-2.25,-9.745),(-2.925,-9.565),(-3.585,-9.335),(-3.905,-9.205),(-4.385,-8.99),(-4.695,-8.83),(-5.3,-8.48),(-5.59,-8.29),(-5.88,-8.09),(-6.43,-7.66),(-6.82,-7.315),(-7.195,-6.945),(-7.66,-6.43),(-7.88,-6.155),(-8.09,-5.88),(-8.48,-5.3),(-8.745,-4.85),(-8.99,-4.385),(-9.335,-3.585),(-9.615,-2.755),(-9.745,-2.25),(-9.85,-1.735),(-9.905,-1.39),(-9.975,-0.7),(-10,0.175),(-9.975,0.7),(-9.905,1.39),(-9.745,2.25),(-9.565,2.925),(-9.335,3.585),(-9.205,3.905),(-8.99,4.385),(-8.83,4.695),(-8.48,5.3),(-8.29,5.59),(-8.09,5.88),(-7.66,6.43),(-7.315,6.82),(-6.945,7.195),(-6.43,7.66),(-6.155,7.88),(-5.88,8.09),(-5.3,8.48),(-4.85,8.745),(-4.385,8.99),(-3.585,9.335),(-2.755,9.615),(-2.25,9.745),(-1.735,9.85),(-1.39,9.905),(-0.7,9.975),(0.175,10),(0.7,9.975),(1.39,9.905),(2.25,9.745),(2.925,9.565),(3.585,9.335),(3.905,9.205),(4.385,8.99),(4.695,8.83),(5.3,8.48),(5.59,8.29),(5.88,8.09),(6.43,7.66),(6.82,7.315),(7.195,6.945),(7.66,6.43),(7.88,6.155),(8.09,5.88),(8.48,5.3),(8.745,4.85),(8.99,4.385),(9.335,3.585),(9.615,2.755),(9.745,2.25),(9.85,1.735),(9.905,1.39),(9.975,0.7),(10,-0.175),(9.975,-0.7),(9.905,-1.39),(9.745,-2.25),(9.565,-2.925),(9.335,-3.585),(9.205,-3.905),(8.99,-4.385),(8.83,-4.695),(8.48,-5.3),(8.29,-5.59),(8.09,-5.88),(7.66,-6.43),(7.315,-6.82),(6.945,-7.195),(6.43,-7.66),(6.155,-7.88),(5.88,-8.09),(5.3,-8.48),(4.85,-8.745),(4.385,-8.99),(3.585,-9.335),(2.755,-9.615),(2.25,-9.745),(1.735,-9.85),(1.39,-9.905),(0.7,-9.975)])
R(fgccte_fcwfc1dc_630_378, L1003_0, [(30.2,-0.225,30.4,0.225)])
fgccte_fcwfc1dc_630_378.add(gdstk.Label('FGCCTE_FCWFC1DC_630_378', (2.7,0.5), layer=1002, texttype=0))
fgccte_fcwfc1dc_630_378.add(gdstk.Label('ISIPP50G_2_3_0', (2.7,0), layer=1002, texttype=0))
fgccte_fcwfc1dc_630_378.add(gdstk.Label('imec_cell', (2.7,-0.5), layer=1002, texttype=0))

lib.write_gds('FGCCTE_FCWFC1DC_630_378.gds')
